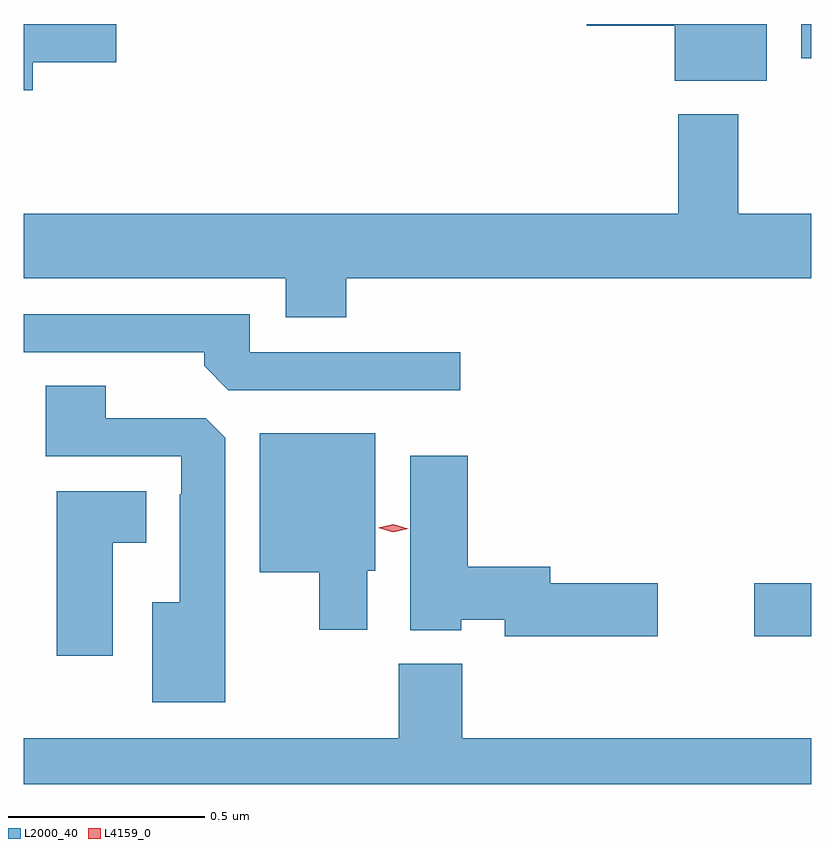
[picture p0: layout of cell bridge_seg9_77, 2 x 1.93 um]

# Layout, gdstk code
import gdstk
lib = gdstk.Library(unit=1e-6, precision=1e-09)
def R(c, l, rs):  # rectangles x0, y0, x1, y1
    for r in rs: c.add(gdstk.rectangle(r[:2], r[2:], *l))
def P(c, l, *ps):  # polygons
    for p in ps: c.add(gdstk.Polygon(p, *l))
L2000_40 = (2000, 40)
L4159_0 = (4159, 0)

bridge_seg9_77 = lib.new_cell('bridge_seg9_77')
R(bridge_seg9_77, L2000_40, [(1019.814,1164.875,1019.959,1165.01), (1019.933,1166.342,1019.959,1166.429)])
P(bridge_seg9_77, L2000_40, [(1017.983,1166.332),(1018.195,1166.332),(1018.195,1166.429),(1017.959,1166.429),(1017.959,1166.261),(1017.983,1166.261)],
  [(1019.845,1166.429),(1019.388,1166.429),(1019.388,1166.425),(1019.612,1166.425),(1019.612,1166.285),(1019.845,1166.285)],
  [(1018.778,1165.784),(1019.959,1165.784),(1019.959,1165.948),(1019.773,1165.948),(1019.773,1166.2),(1019.621,1166.2),(1019.621,1165.948),(1017.959,1165.948),(1017.959,1165.784),(1018.625,1165.784),(1018.625,1165.685),(1018.778,1165.685)],
  [(1019.068,1165.596),(1018.533,1165.596),(1018.533,1165.692),(1017.959,1165.692),(1017.959,1165.596),(1018.418,1165.596),(1018.418,1165.562),(1018.479,1165.5),(1019.068,1165.5)],
  [(1018.471,1165.379),(1018.422,1165.428),(1018.168,1165.428),(1018.168,1165.511),(1018.016,1165.511),(1018.016,1165.332),(1018.359,1165.332),(1018.359,1165.235),(1018.355,1165.235),(1018.355,1164.961),(1018.286,1164.961),(1018.286,1164.707),(1018.471,1164.707)],
  [(1018.831,1165.041),(1018.852,1165.041),(1018.852,1165.39),(1018.559,1165.39),(1018.559,1165.037),(1018.709,1165.037),(1018.709,1164.891),(1018.831,1164.891)],
  [(1019.569,1165.01),(1019.296,1165.01),(1019.296,1165.052),(1019.087,1165.052),(1019.087,1165.333),(1018.94,1165.333),(1018.94,1164.89),(1019.07,1164.89),(1019.07,1164.917),(1019.18,1164.917),(1019.18,1164.875),(1019.569,1164.875)],
  [(1018.186,1165.112),(1018.27,1165.112),(1018.27,1165.243),(1018.043,1165.243),(1018.043,1164.825),(1018.186,1164.825)],
  [(1019.959,1164.616),(1019.072,1164.616),(1019.072,1164.805),(1018.912,1164.805),(1018.912,1164.616),(1017.959,1164.616),(1017.959,1164.5),(1019.959,1164.5)])
P(bridge_seg9_77, L4159_0, [(1018.897,1165.139),(1018.859,1165.15),(1018.858,1165.15),(1018.859,1165.15),(1018.897,1165.159),(1018.935,1165.148),(1018.936,1165.148),(1018.935,1165.148)])

lib.write_gds('bridge_seg9_77.gds')
